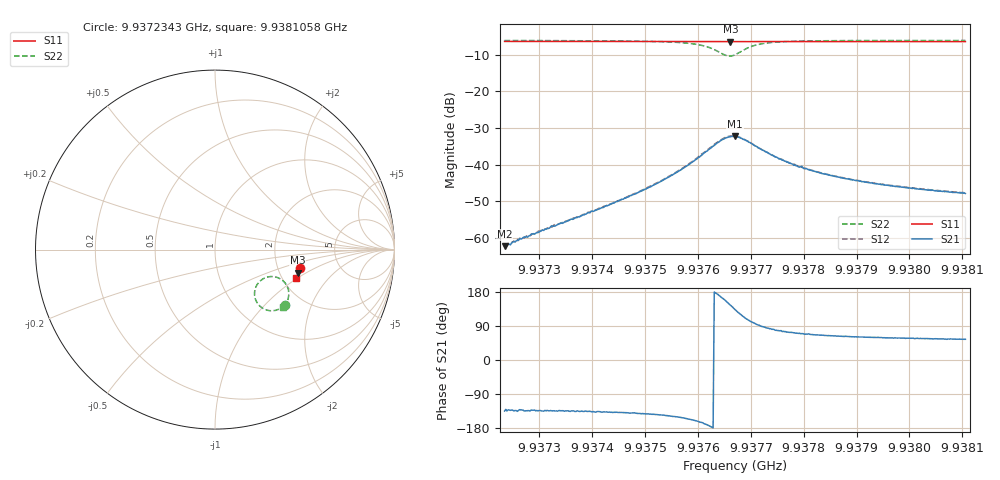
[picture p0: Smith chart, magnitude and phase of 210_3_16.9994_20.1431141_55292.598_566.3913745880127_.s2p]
#  HZ  S  RI  R  50.00
! Rohde & Schwarz Vector Network Analyzer
! Rohde-Schwarz,ZNB20-2Port,1311601062101988,3.16
! Created: UTC 3/20/2024, 11:01:26 PM
! freq[Hz]  re:S11  im:S11  re:S21  im:S21  re:S12  im:S12  re:S22  im:S22
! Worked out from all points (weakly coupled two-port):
!   401 points, 9.9372343 GHz to 9.9381058 GHz, reference 50 ohm
!   highest |S21| = -32.27 dB at 9.93767 GHz (marker M1); lowest = -62.3 dB at 9.9372343 GHz (marker M2)
!   lowest |S11| = -6.4 dB at 9.9376613 GHz (marker M3), VSWR 2.84, Z = 126 - j42.1 ohm
!   |S11| at or under -10 dB: nowhere
!   |S22| runs from -10.3 to -6.0 dB; largest |S21 - S12| = 0.0011
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9.93723434e9  0.4728 -0.1024  -0.000537 -0.000546  -0.000545 -0.000556  0.3927 -0.3061
9.93724523e9  0.4727 -0.103  -0.000543 -0.000584  -0.000587 -0.000596  0.3917 -0.3068
9.93729969e9  0.4714 -0.1068  -0.000823 -0.000875  -0.000882 -0.000873  0.3868 -0.3117
9.9373803e9  0.47 -0.1121  -0.00141 -0.00143  -0.00145 -0.00142  0.3776 -0.3192
9.93745437e9  0.4682 -0.1172  -0.00247 -0.00218  -0.00252 -0.00218  0.3651 -0.3275
9.93752626e9  0.4666 -0.122  -0.00466 -0.00331  -0.00477 -0.00329  0.3425 -0.337
9.93756983e9  0.4652 -0.125  -0.00769 -0.00406  -0.00791 -0.00396  0.3154 -0.3407
9.9376134e9  0.4635 -0.128  -0.0144 -0.00283  -0.0147 -0.00259  0.261 -0.3236
9.93762865e9  0.4626 -0.1287  -0.0179 -0.000282  -0.0184 0.0002  0.236 -0.2979
9.9376439e9  0.4619 -0.1293  -0.0208 0.0053  -0.0212 0.00589  0.2204 -0.2507
9.93765262e9  0.4616 -0.1292  -0.0212 0.00948  -0.0213 0.0103  0.2248 -0.2158
9.93766133e9  0.4613 -0.1293  -0.0196 0.0139  -0.0195 0.0149  0.2437 -0.1828
9.93767004e9  0.4615 -0.1294  -0.0166 0.0178  -0.0162 0.0186  0.274 -0.1595
9.93768094e9  0.4618 -0.1297  -0.0116 0.0199  -0.011 0.0206  0.3171 -0.1501
9.93769619e9  0.4621 -0.1305  -0.00506 0.0196  -0.00452 0.0199  0.3651 -0.1638
9.93772015e9  0.4624 -0.1323  0.000356 0.0161  0.000577 0.0162  0.4005 -0.2012
9.93776808e9  0.4617 -0.136  0.00305 0.0104  0.00325 0.0105  0.4114 -0.2517
9.93778551e9  0.4613 -0.1374  0.00318 0.00915  0.00343 0.00911  0.4101 -0.2622
9.93781601e9  0.4608 -0.1395  0.0032 0.00761  0.00337 0.00761  0.4067 -0.2762
9.93787701e9  0.4592 -0.1437  0.00303 0.00573  0.00313 0.00574  0.3997 -0.2932
9.93796197e9  0.4571 -0.1494  0.00271 0.00441  0.00282 0.00438  0.3913 -0.3074
9.93810576e9  0.4534 -0.1586  0.00233 0.00328  0.00243 0.00329  0.3799 -0.3224
